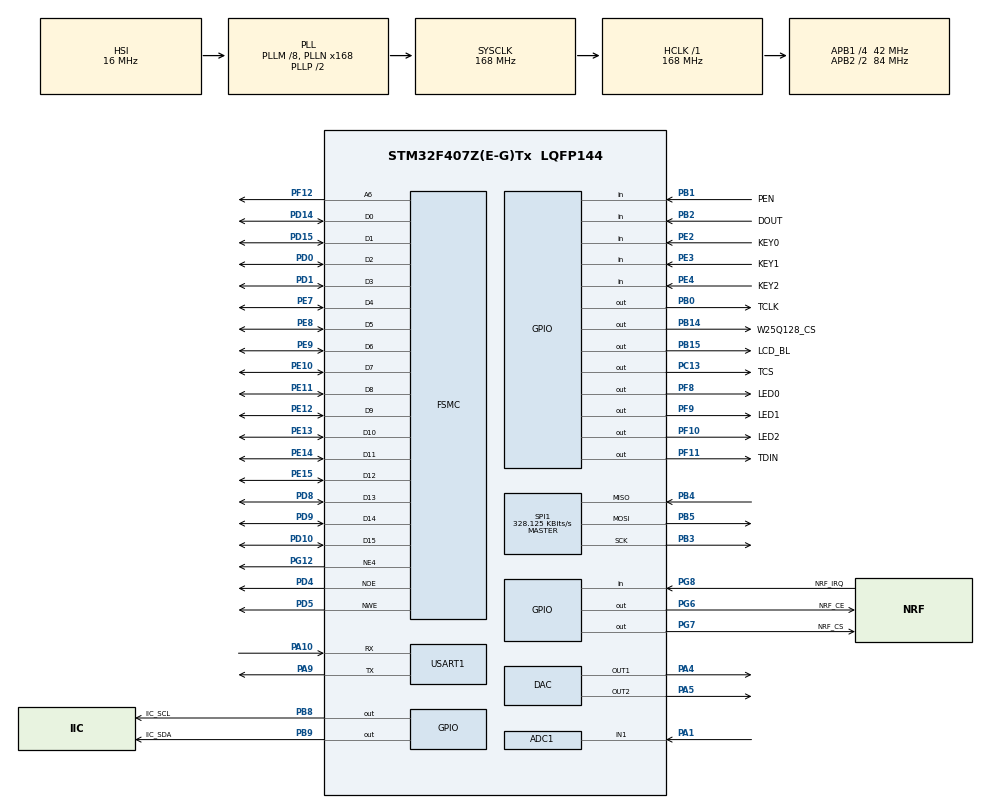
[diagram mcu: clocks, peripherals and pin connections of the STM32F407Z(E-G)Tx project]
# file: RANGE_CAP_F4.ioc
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ADC1.Channel-4\#ChannelRegularConversion=ADC_CHANNEL_1
ADC1.ContinuousConvMode=ENABLE
ADC1.DMAContinuousRequests=ENABLE
ADC1.NbrOfConversion=1
ADC1.NbrOfConversionFlag=1
ADC1.Rank-4\#ChannelRegularConversion=1
ADC1.SamplingTime-4\#ChannelRegularConversion=ADC_SAMPLETIME_3CYCLES
ADC1.ScanConvMode=ENABLE
ADC1.master=1
Dma.ADC1.0.Direction=DMA_PERIPH_TO_MEMORY
Dma.ADC1.0.FIFOMode=DMA_FIFOMODE_DISABLE
Dma.ADC1.0.Instance=DMA2_Stream0
Dma.ADC1.0.MemDataAlignment=DMA_MDATAALIGN_HALFWORD
Dma.ADC1.0.MemInc=DMA_MINC_ENABLE
Dma.ADC1.0.Mode=DMA_CIRCULAR
Dma.ADC1.0.PeriphDataAlignment=DMA_PDATAALIGN_HALFWORD
Dma.ADC1.0.PeriphInc=DMA_PINC_DISABLE
Dma.ADC1.0.Priority=DMA_PRIORITY_VERY_HIGH
Dma.Request0=ADC1
FSMC.AddressSetupTime1=0x0f
FSMC.BusTurnAroundDuration1=0
FSMC.DataSetupTime1=60
FSMC.ExtendedAddressSetupTime1=9
FSMC.ExtendedBusTurnAroundDuration1=0
FSMC.ExtendedDataSetupTime1=8
FSMC.ExtendedMode1=FSMC_EXTENDED_MODE_ENABLE
Mcu.Family=STM32F4
Mcu.Name=STM32F407Z(E-G)Tx
Mcu.Package=LQFP144
NVIC.PriorityGroup=NVIC_PRIORITYGROUP_2
NVIC.TIM2_IRQn=true\:0\:0\:false\:false\:true\:true\:true
NVIC.TIM7_IRQn=true\:0\:1\:false\:false\:true\:true\:true
NVIC.USART1_IRQn=true\:2\:3\:true\:false\:true\:true\:true
PA1.Signal=ADCx_IN1
PA10.Mode=Asynchronous
PA10.Signal=USART1_RX
PA13.Mode=Serial_Wire
PA13.Signal=SYS_JTMS-SWDIO
PA14.Mode=Serial_Wire
PA14.Signal=SYS_JTCK-SWCLK
PA4.Signal=COMP_DAC1_group
PA5.Signal=COMP_DAC2_group
PA9.Mode=Asynchronous
PA9.Signal=USART1_TX
PB0.GPIO_Label=TCLK
PB0.GPIO_PuPd=GPIO_PULLUP
PB0.GPIO_Speed=GPIO_SPEED_FREQ_VERY_HIGH
PB0.Signal=GPIO_Output
PB1.GPIO_Label=PEN
PB1.GPIO_Mode=GPIO_MODE_INPUT
PB1.GPIO_PuPd=GPIO_PULLUP
PB1.Signal=GPIO_Input
PB14.GPIO_Label=W25Q128_CS
PB14.GPIO_PuPd=GPIO_PULLUP
PB14.GPIO_Speed=GPIO_SPEED_FREQ_VERY_HIGH
PB14.PinState=GPIO_PIN_SET
PB14.Signal=GPIO_Output
PB15.GPIO_Label=LCD_BL
PB15.GPIO_PuPd=GPIO_PULLUP
PB15.GPIO_Speed=GPIO_SPEED_FREQ_MEDIUM
PB15.Signal=GPIO_Output
PB2.GPIO_Label=DOUT
PB2.GPIO_PuPd=GPIO_PULLUP
PB2.Signal=GPIO_Input
PB3.GPIO_Mode=GPIO_MODE_AF_PP
PB3.GPIO_PuPd=GPIO_PULLUP
PB3.GPIO_Speed=GPIO_SPEED_FREQ_VERY_HIGH
PB3.Mode=Full_Duplex_Master
PB3.Signal=SPI1_SCK
PB4.GPIO_Mode=GPIO_MODE_AF_PP
PB4.GPIO_PuPd=GPIO_PULLUP
PB4.GPIO_Speed=GPIO_SPEED_FREQ_VERY_HIGH
PB4.Mode=Full_Duplex_Master
PB4.Signal=SPI1_MISO
PB5.GPIO_Mode=GPIO_MODE_AF_PP
PB5.GPIO_PuPd=GPIO_PULLUP
PB5.GPIO_Speed=GPIO_SPEED_FREQ_VERY_HIGH
PB5.Mode=Full_Duplex_Master
PB5.Signal=SPI1_MOSI
PB8.GPIO_Label=IIC_SCL
PB8.GPIO_PuPd=GPIO_PULLUP
PB8.GPIO_Speed=GPIO_SPEED_FREQ_VERY_HIGH
PB8.Signal=GPIO_Output
PB9.GPIO_Label=IIC_SDA
PB9.GPIO_PuPd=GPIO_PULLUP
PB9.GPIO_Speed=GPIO_SPEED_FREQ_VERY_HIGH
PB9.Signal=GPIO_Output
PC13-ANTI_TAMP.GPIO_Label=TCS
PC13-ANTI_TAMP.Signal=GPIO_Output
PD0.GPIO_PuPd=GPIO_PULLUP
PD0.Signal=FSMC_D2_DA2
PD1.GPIO_PuPd=GPIO_PULLUP
PD1.Signal=FSMC_D3_DA3
PD10.GPIO_PuPd=GPIO_PULLUP
PD10.Signal=FSMC_D15_DA15
PD14.GPIO_PuPd=GPIO_PULLUP
PD14.Signal=FSMC_D0_DA0
PD15.GPIO_PuPd=GPIO_PULLUP
PD15.Signal=FSMC_D1_DA1
PD4.GPIO_PuPd=GPIO_PULLUP
PD4.Signal=FSMC_NOE
PD5.GPIO_PuPd=GPIO_PULLUP
PD5.Signal=FSMC_NWE
PD8.GPIO_PuPd=GPIO_PULLUP
PD8.Signal=FSMC_D13_DA13
PD9.GPIO_PuPd=GPIO_PULLUP
PD9.Signal=FSMC_D14_DA14
PE10.GPIO_PuPd=GPIO_PULLUP
PE10.Signal=FSMC_D7_DA7
PE11.GPIO_PuPd=GPIO_PULLUP
PE11.Signal=FSMC_D8_DA8
PE12.GPIO_PuPd=GPIO_PULLUP
PE12.Signal=FSMC_D9_DA9
PE13.GPIO_PuPd=GPIO_PULLUP
PE13.Signal=FSMC_D10_DA10
PE14.GPIO_PuPd=GPIO_PULLUP
PE14.Signal=FSMC_D11_DA11
PE15.GPIO_PuPd=GPIO_PULLUP
PE15.Signal=FSMC_D12_DA12
PE2.GPIO_Label=KEY0
PE2.GPIO_PuPd=GPIO_PULLUP
PE2.Signal=GPIO_Input
PE3.GPIO_Label=KEY1
PE3.GPIO_PuPd=GPIO_PULLUP
PE3.Signal=GPIO_Input
PE4.GPIO_Label=KEY2
PE4.GPIO_PuPd=GPIO_PULLUP
PE4.Signal=GPIO_Input
PE7.GPIO_PuPd=GPIO_PULLUP
PE7.Signal=FSMC_D4_DA4
PE8.GPIO_PuPd=GPIO_PULLUP
PE8.Signal=FSMC_D5_DA5
PE9.GPIO_PuPd=GPIO_PULLUP
PE9.Signal=FSMC_D6_DA6
PF10.GPIO_Label=LED2
PF10.GPIO_ModeDefaultOutputPP=GPIO_MODE_OUTPUT_PP
PF10.GPIO_PuPd=GPIO_PULLUP
PF10.GPIO_Speed=GPIO_SPEED_FREQ_VERY_HIGH
PF10.PinState=GPIO_PIN_SET
PF10.Signal=GPIO_Output
PF11.GPIO_Label=TDIN
PF11.GPIO_Speed=GPIO_SPEED_FREQ_VERY_HIGH
PF11.Signal=GPIO_Output
PF12.GPIO_PuPd=GPIO_PULLUP
PF12.Signal=FSMC_A6
PF8.GPIO_Label=LED0
PF8.GPIO_ModeDefaultOutputPP=GPIO_MODE_OUTPUT_PP
PF8.GPIO_PuPd=GPIO_PULLUP
PF8.GPIO_Speed=GPIO_SPEED_FREQ_VERY_HIGH
PF8.PinState=GPIO_PIN_SET
PF8.Signal=GPIO_Output
PF9.GPIO_Label=LED1
PF9.GPIO_ModeDefaultOutputPP=GPIO_MODE_OUTPUT_PP
PF9.GPIO_PuPd=GPIO_PULLUP
PF9.GPIO_Speed=GPIO_SPEED_FREQ_VERY_HIGH
PF9.PinState=GPIO_PIN_SET
PF9.Signal=GPIO_Output
PG12.GPIO_PuPd=GPIO_PULLUP
PG12.Mode=NorPsramChipSelect4_1
PG12.Signal=FSMC_NE4
PG6.GPIO_Label=NRF_CE
PG6.GPIO_ModeDefaultOutputPP=GPIO_MODE_OUTPUT_PP
PG6.GPIO_PuPd=GPIO_PULLUP
PG6.GPIO_Speed=GPIO_SPEED_FREQ_VERY_HIGH
PG6.Signal=GPIO_Output
PG7.GPIO_Label=NRF_CS
PG7.GPIO_ModeDefaultOutputPP=GPIO_MODE_OUTPUT_PP
PG7.GPIO_PuPd=GPIO_PULLUP
PG7.GPIO_Speed=GPIO_SPEED_FREQ_VERY_HIGH
PG7.Signal=GPIO_Output
PG8.GPIO_Label=NRF_IRQ
PG8.GPIO_PuPd=GPIO_PULLUP
PG8.Signal=GPIO_Input
PH0-OSC_IN.Mode=HSE-External-Oscillator
PH0-OSC_IN.Signal=RCC_OSC_IN
PH1-OSC_OUT.Mode=HSE-External-Oscillator
PH1-OSC_OUT.Signal=RCC_OSC_OUT
ProjectManager.HeapSize=0x200
ProjectManager.StackSize=0x400
ProjectManager.TargetToolchain=MDK-ARM V5.27
RCC.48MHZClocksFreq_Value=84000000
RCC.AHBFreq_Value=168000000
RCC.APB1CLKDivider=RCC_HCLK_DIV4
RCC.APB1Freq_Value=42000000
RCC.APB1TimFreq_Value=84000000
RCC.APB2CLKDivider=RCC_HCLK_DIV2
RCC.APB2Freq_Value=84000000
RCC.APB2TimFreq_Value=168000000
RCC.CortexFreq_Value=168000000
RCC.HCLKFreq_Value=168000000
RCC.HSE_VALUE=8000000
RCC.HSI_VALUE=16000000
RCC.LSE_VALUE=32768
RCC.PLLM=8
RCC.PLLN=168
RCC.SYSCLKFreq_VALUE=168000000
RCC.SYSCLKSource=RCC_SYSCLKSOURCE_PLLCLK
RCC.VCOOutputFreq_Value=336000000
SH.ADCx_IN1.0=ADC1_IN1,IN1
SH.COMP_DAC1_group.0=DAC_OUT1,DAC_OUT1
SH.COMP_DAC2_group.0=DAC_OUT2,DAC_OUT2
SH.FSMC_A6.0=FSMC_A6,A6_1
SH.FSMC_D0_DA0.0=FSMC_D0,16b-d1
SH.FSMC_D10_DA10.0=FSMC_D10,16b-d1
SH.FSMC_D11_DA11.0=FSMC_D11,16b-d1
SH.FSMC_D12_DA12.0=FSMC_D12,16b-d1
SH.FSMC_D13_DA13.0=FSMC_D13,16b-d1
SH.FSMC_D14_DA14.0=FSMC_D14,16b-d1
SH.FSMC_D15_DA15.0=FSMC_D15,16b-d1
SH.FSMC_D1_DA1.0=FSMC_D1,16b-d1
SH.FSMC_D2_DA2.0=FSMC_D2,16b-d1
SH.FSMC_D3_DA3.0=FSMC_D3,16b-d1
SH.FSMC_D4_DA4.0=FSMC_D4,16b-d1
SH.FSMC_D5_DA5.0=FSMC_D5,16b-d1
SH.FSMC_D6_DA6.0=FSMC_D6,16b-d1
SH.FSMC_D7_DA7.0=FSMC_D7,16b-d1
SH.FSMC_D8_DA8.0=FSMC_D8,16b-d1
SH.FSMC_D9_DA9.0=FSMC_D9,16b-d1
SH.FSMC_NOE.0=FSMC_NOE,Lcd1
SH.FSMC_NWE.0=FSMC_NWE,Lcd1
SPI1.BaudRatePrescaler=SPI_BAUDRATEPRESCALER_256
SPI1.CLKPhase=SPI_PHASE_2EDGE
SPI1.CLKPolarity=SPI_POLARITY_HIGH
SPI1.CRCCalculation=SPI_CRCCALCULATION_DISABLE
SPI1.CalculateBaudRate=328.125 KBits/s
SPI1.DataSize=SPI_DATASIZE_8BIT
SPI1.Direction=SPI_DIRECTION_2LINES
SPI1.Mode=SPI_MODE_MASTER
SPI1.VirtualType=VM_MASTER
TIM2.Period=10-1
TIM2.Prescaler=84-1
TIM7.Period=8400-1
TIM7.Prescaler=1000-1
USART1.VirtualMode=VM_ASYNC
VP_TIM2_VS_ClockSourceINT.Mode=Internal
VP_TIM7_VS_ClockSourceINT.Mode=Enable_Timer
board=custom

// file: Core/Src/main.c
/* USER CODE BEGIN Header */
/**
  ******************************************************************************
  * @file           : main.c
  * @brief          : Main program body
  ******************************************************************************
  * @attention
  *
  * <h2><center>&copy; Copyright (c) 2021 STMicroelectronics.
  * All rights reserved.</center></h2>
  *
  * This software component is licensed by ST under BSD 3-Clause license,
  * the "License"; You may not use this file except in compliance with the
  * License. You may obtain a copy of the License at:
  *                        opensource.org/licenses/BSD-3-Clause
  *
  ******************************************************************************
  */
/* USER CODE END Header */
#include "main.h"
#include "adc.h"
#include "dac.h"
#include "dma.h"
#include "spi.h"
#include "tim.h"
#include "usart.h"
#include "gpio.h"
#include "fsmc.h"

/* USER CODE BEGIN Includes */
#include "base.h"
#include "lcd.h"
#include "touch.h"
#include "24l01.h"
#include "wifi.h"
/* USER CODE END Includes */

/* USER CODE BEGIN PD */
#define TP_CHECK(x0,y0,x1,y1) tp_dev.x[0] > x0 && tp_dev.y[0] > y0 && tp_dev.x[0] < x1 && tp_dev.y[0] < y1
/* USER CODE END PD */

/* USER CODE BEGIN PV */
uint8_t Mode = 0;         //当前模式：0-均不开启 1-开启示波器显示 2-wifi模块
uint8_t NRF24L01_STA = 0; //NRF24L01_状态 0-未成功启用
uint8_t presStatus = 0;   //标记按下
uint8_t DAC_FRE = 0;
uint32_t ADC_CAP = 0;
uint16_t myOFT = 2700;
uint8_t vol[40] = {0};
uint8_t vol_cmd[54] =
{ /*BEGIN CMD*/0xee,
	/*CMD1:*/0xb1,
	/*CMD2:*/0x32,
	/*SCREEN  ID:*/0,0,
	/*CONTROL ID:*/0,1,
	/*CHANNEL ID:*/0,
  /*DATA LENGTG*/0,40
  /*DATA*/};
//EE |B1 |32 |00 00 |00 01 |00| 00 28| 00 00 00 00 00 00 00 00 00 00 00 00 00 00 00 00 00 00 00 00 00 00 00 00 00 00 00 00 00 00 00 00 00 00 00 00 00 00 00 00 3F 3F 3F 3F
//EE B1 32 00 00 00 01 00 00 28 00 00 00 00 00 00 00 00 00 00 00 00 00 00 00 00 00 00 00 00 00 00 00 00 00 00 00 00 00 00 00 00 00 00 00 00 00 00 00 00 3F 3F 3F 3F
//EE B1 32 00 00 00 01 00 00 28 41 00 00 00 00 00 00 00 00 00 00 00 00 00 00 00 00 00 00 00 00 00 00 00 00 00 00 00 00 00 00 00 00 00 00 00 00 00 00 00 3F 3F 3F 3F
extern uint16_t tick_hu;
extern uint8_t tick_dr;
/* USER CODE END PV */

void SystemClock_Config(void);
/* USER CODE BEGIN PFP */
void modeOn(uint8_t mode){
  switch (mode)
  {
    //示波器
    case 1:{
      LCD_Fill(40,30,200,60,RED);
 	    POINT_COLOR=GREEN;
      LCD_ShowString(40+37,30+7,200,60,16,(uint8_t *)"Osc Mode On");
			NRF24L01_RX_Mode();
      //TODO:初始化
    }break;
    //WIFI
    case 2:{
      LCD_Fill(40,80,200,110,RED);
      POINT_COLOR=GREEN;
      LCD_ShowString(40+37,80+7,200,110,16,(uint8_t *)"WiF Mode On");
    }break;
  default:
    break;
  }
};
void modeOff(uint8_t mode){
  switch (mode)
  {
    //示波器
    case 1:{
      LCD_Fill(40,30,200,60,GREEN);
 	    POINT_COLOR=RED;
      LCD_ShowString(40+33,30+7,200,60,16,(uint8_t *)"Osc Mode Off");
      //TODO:初始化
    }break;
    //WIFI
    case 2:{
      LCD_Fill(40,80,200,110,GREEN);
      POINT_COLOR=RED;
      LCD_ShowString(40+33,80+7,200,110,16,(uint8_t *)"WiF Mode Off");
    }break;
  default:
    break;
  }
}
void modeSwitchTo(uint8_t nextMode){
  //如果Mode不为0，则关掉当前模式
  if(Mode)    modeOff(Mode);
  //如果nextMode不为0，则开启当前模式
  if(nextMode)modeOn(nextMode);
  Mode = nextMode;
}
/* USER CODE END PFP */

int main(void)
{
  /* USER CODE BEGIN 1 */
  uint8_t nextMode;     //预备的模式
  /* USER CODE END 1 */

  /* MCU Configuration--------------------------------------------------------*/

  /* Reset of all peripherals, Initializes the Flash interface and the Systick. */
  HAL_Init();

  /* Configure the system clock */
  SystemClock_Config();

  /* Initialize all configured peripherals */
  MX_GPIO_Init();
  MX_DMA_Init();
  MX_FSMC_Init();
  MX_SPI1_Init();
  MX_USART1_UART_Init();
  MX_ADC1_Init();
  MX_DAC_Init();
  MX_TIM2_Init();
  MX_TIM7_Init();
  /* USER CODE BEGIN 2 */
  delay_init(168);
	LCD_Init();
	tp_dev.init();
 	NRF24L01_Init();
  HAL_ADC_Start_DMA(&hadc1,(uint32_t *)&ADC_CAP,1);
  HAL_DAC_Start(&hdac,DAC1_CHANNEL_1);
  HAL_DAC_Start(&hdac,DAC1_CHANNEL_2);
  HAL_TIM_Base_Start_IT(&htim2);
	//HAL_TIM_Base_Start_IT(&htim7);
 	POINT_COLOR=RED;
	atk_8266_Init();

	delay_ms(100);
	vol_cmd[50] = 0xFF;
	vol_cmd[51] = 0xFC;
	vol_cmd[52] = 0xFF;
	vol_cmd[53] = 0xFF;
  modeOff(1);
  modeOff(2);

  //查看NRF24L01初始化情况并进入接收状态，若没有成功初始化则进入死循环
  LCD_ShowString(30,130,200,16,16,(uint8_t *)"NRF24L01:");
	while(!(NRF24L01_STA = !NRF24L01_Check()))
	{
		LCD_ShowString(103,130,200,16,16,(uint8_t *)"Error");
		delay_ms(200);
		LCD_Fill(103,130,200,150,WHITE);
 		delay_ms(200);
	}
	LCD_ShowString(103,130,200,16,16,(uint8_t *)"Ready");
  NRF24L01_RX_Mode();
	LCD_Fill(103,130,200,150,WHITE);
	LCD_ShowString(103,130,200,16,16,(uint8_t *)"Receiving..");

  /* USER CODE END 2 */

  /* Infinite loop */
  while (1)
  {

    /* USER CODE BEGIN 3 */
    //扫描并且切换模式
		if(Mode == 1) {
			while(1)
			{
				while(NRF24L01_RxPacket(&DAC_FRE));
				tick_hu = myOFT;
				tick_dr = 0;
				HAL_UART_Transmit(&huart1, vol_cmd, 54, 5);
			}
		}

    tp_dev.scan(0);
    if(TP_CHECK(40,30,200,60))  nextMode = 1;
    if(TP_CHECK(40,80,200,130)) nextMode = 2;
    if(Mode != nextMode) modeSwitchTo(nextMode);
  }
  /* USER CODE END 3 */
}

void SystemClock_Config(void)
{
  RCC_OscInitTypeDef RCC_OscInitStruct = {0};
  RCC_ClkInitTypeDef RCC_ClkInitStruct = {0};

  /** Configure the main internal regulator output voltage
  */
  __HAL_RCC_PWR_CLK_ENABLE();
  __HAL_PWR_VOLTAGESCALING_CONFIG(PWR_REGULATOR_VOLTAGE_SCALE1);
  /** Initializes the RCC Oscillators according to the specified parameters
  * in the RCC_OscInitTypeDef structure.
  */
  RCC_OscInitStruct.OscillatorType = RCC_OSCILLATORTYPE_HSI;
  RCC_OscInitStruct.HSIState = RCC_HSI_ON;
  RCC_OscInitStruct.HSICalibrationValue = RCC_HSICALIBRATION_DEFAULT;
  RCC_OscInitStruct.PLL.PLLState = RCC_PLL_ON;
  RCC_OscInitStruct.PLL.PLLSource = RCC_PLLSOURCE_HSI;
  RCC_OscInitStruct.PLL.PLLM = 8;
  RCC_OscInitStruct.PLL.PLLN = 168;
  RCC_OscInitStruct.PLL.PLLP = RCC_PLLP_DIV2;
  RCC_OscInitStruct.PLL.PLLQ = 4;
  if (HAL_RCC_OscConfig(&RCC_OscInitStruct) != HAL_OK)
  {
    Error_Handler();
  }
  /** Initializes the CPU, AHB and APB buses clocks
  */
  RCC_ClkInitStruct.ClockType = RCC_CLOCKTYPE_HCLK|RCC_CLOCKTYPE_SYSCLK
                              |RCC_CLOCKTYPE_PCLK1|RCC_CLOCKTYPE_PCLK2;
  RCC_ClkInitStruct.SYSCLKSource = RCC_SYSCLKSOURCE_PLLCLK;
  RCC_ClkInitStruct.AHBCLKDivider = RCC_SYSCLK_DIV1;
  RCC_ClkInitStruct.APB1CLKDivider = RCC_HCLK_DIV4;
  RCC_ClkInitStruct.APB2CLKDivider = RCC_HCLK_DIV2;

  if (HAL_RCC_ClockConfig(&RCC_ClkInitStruct, FLASH_LATENCY_5) != HAL_OK)
  {
    Error_Handler();
  }
}

void Error_Handler(void)
{
  __disable_irq();
  while (1)
  {
  }
}

/************************ (C) COPYRIGHT STMicroelectronics *****END OF FILE****/
